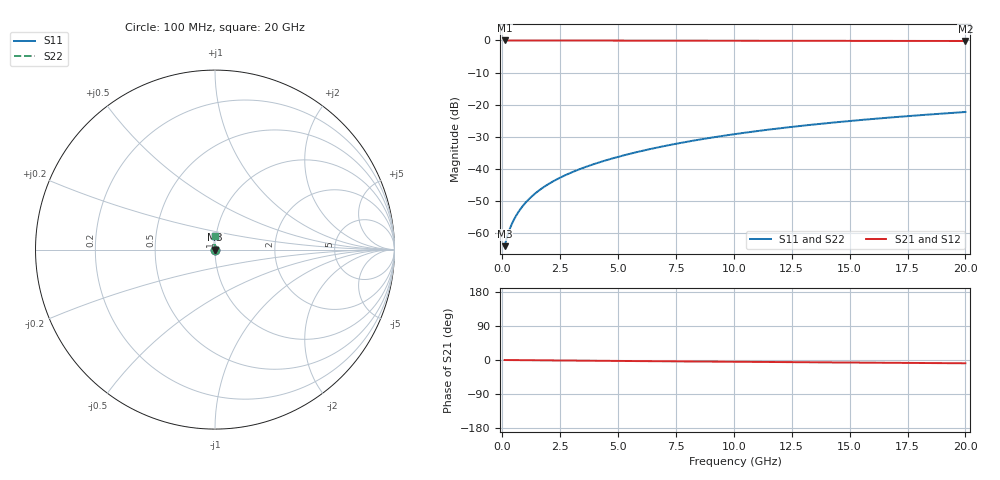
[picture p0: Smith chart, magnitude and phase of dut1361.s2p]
! Touchstone file exported from HFSS 2024.1.0
!  File:  C:/UserFiles/LocalFiles/RDL_TSV_Batchsim/temp_RDL_bottom_1361_1780370729.aedt
!  Generated:  11:27:50 AM Jun  2, 2026
!  Design:  RDL_bottom
!  Project:  temp_RDL_bottom_1361_1780370729
!  Setup:  Setup1
!  Solution:  Sweep
! Variables:
!  dtsv = 10.80580581um
!  hbump = 3um
!  htsv = 92.89um
!  ldown = 119.32um
!  lrdl = 100um
!  p = 40
!  p1 = 43.79um
!  rhole = 1um
!  t = 450um
!  tdown = 4.58um
!  trdl = 3.915915916um
!  wdown = 27.46um
!  wrdl = 20um
# GHz S MA R 50.000000
! Terminal data exported
! Port[1] = RDL1_T1
! Port[2] = RDL1_T2
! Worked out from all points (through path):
!   200 points, 100 MHz to 20 GHz, reference 50 ohm
!   highest |S21| = 0.00 dB at 100 MHz (marker M1); lowest = -0.2 dB at 20 GHz (marker M2)
!   group delay of S21, straight-line fit = 1.18 ps
!   lowest |S11| = -63.9 dB at 100 MHz (marker M3), VSWR 1.00, Z = 50.1 + j0.035 ohm
!   |S11| at or under -10 dB: start of sweep to end of sweep
!   |S22| runs from -63.9 to -22.2 dB; largest |S21 - S12| = 5.1e-15
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0.1  0.0006348 33.4  0.9995 -0.1  0.9995 -0.1  0.0006348 33.4
! Gamma 0 0 0 0
! Port Impedance 50 0 50 0
0.2  0.0008743 49.1  0.9994 -0.1  0.9994 -0.1  0.0008743 49.1
0.3  0.001124 57.7  0.9994 -0.2  0.9994 -0.2  0.001124 57.7
0.4  0.001377 63.4  0.9993 -0.2  0.9993 -0.2  0.001377 63.4
0.5  0.001635 67.7  0.9993 -0.3  0.9993 -0.3  0.001635 67.7
0.6  0.001899 70.9  0.9993 -0.3  0.9993 -0.3  0.001899 70.9
0.8  0.00244 75.6  0.9992 -0.4  0.9992 -0.4  0.00244 75.6
1  0.002995 78.8  0.9991 -0.5  0.9991 -0.5  0.002995 78.8
1.2  0.003559 81.2  0.999 -0.6  0.999 -0.6  0.003559 81.2
1.4  0.00413 83.0  0.9989 -0.7  0.9989 -0.7  0.00413 83.0
1.7  0.004999 85.1  0.9988 -0.9  0.9988 -0.9  0.004999 85.1
2.2  0.006475 87.6  0.9984 -1.1  0.9984 -1.1  0.006475 87.6
2.8  0.008295 89.7  0.9979 -1.4  0.9979 -1.4  0.008295 89.7
3.5  0.01049 91.6  0.9972 -1.8  0.9972 -1.8  0.01049 91.6
4.2  0.01278 92.9  0.9964 -2.1  0.9964 -2.1  0.01278 92.9
5  0.01551 94.1  0.9954 -2.5  0.9954 -2.5  0.01551 94.1
6.8  0.02207 95.5  0.9931 -3.3  0.9931 -3.3  0.02207 95.5
8.4  0.02832 95.7  0.9911 -4.0  0.9911 -4.0  0.02832 95.7
10.1  0.03525 95.3  0.9891 -4.7  0.9891 -4.7  0.03525 95.3
13.4  0.04915 93.6  0.9857 -6.0  0.9857 -6.0  0.04915 93.6
16.7  0.06322 91.5  0.9828 -7.4  0.9828 -7.4  0.06322 91.5
20  0.07723 89.4  0.9802 -8.7  0.9802 -8.7  0.07723 89.4
